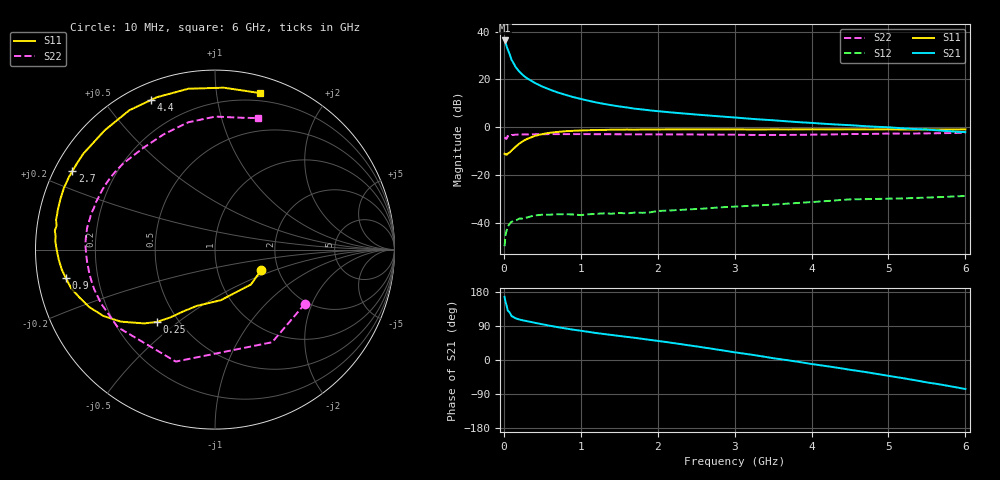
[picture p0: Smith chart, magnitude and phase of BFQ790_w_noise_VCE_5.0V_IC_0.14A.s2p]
! Infineon Technologies  Discrete & RF Semiconductors
! BFQ790
! VCE =  5.0 V,  IC = 0.14 A
! Common Emitter S-Parameters:  May 2015
# GHz  S  MA  R  50
!  f  S11  S21  S12  S22
! GHz  MAG  ANG  MAG  ANG  MAG  ANG  MAG  ANG
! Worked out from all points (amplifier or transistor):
!   77 points, 10 MHz to 6 GHz, reference 50 ohm
!   highest |S21| = 36.3 dB at 10 MHz (marker M1)
!   |S21| within 3 dB of that: start of sweep to 42.22 MHz
!   unconditionally stable (mu >= 1): start of sweep to 19.65 MHz; 210.7 MHz to 429 MHz; 857.3 MHz to end of sweep (the widest 3 of 4)
!   at 130 MHz: K = 0.88, MSG = 32.9 dB, |S12| = -39.2 dB
!   at 2.2 GHz: K = 1.27, MAG = 17.3 dB, |S12| = -34.7 dB
!   at 6 GHz: K = 1.19, MAG = 10.7 dB, |S12| = -28.7 dB
!   lowest NFmin = 2.89 dB at 1.5 GHz
!   S11 on the Smith chart (normalised r, x): 10 MHz: 1.64, -0.40; 250 MHz: 0.38, -0.42; 900 MHz: 0.08, -0.09; 2.7 GHz: 0.05, +0.26; 4.4 GHz: 0.07, +0.66; 6 GHz: 0.13, +1.32
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0.01  0.2819 -23.6  65.2 166.6  0.0033 35.6  0.5851 -31.0
0.02  0.2792 -44.2  60.22 154.3  0.0054 39.5  0.6064 -58.3
0.05  0.2837 -83.4  42.33 130.8  0.0085 29.6  0.6611 -109.3
0.1  0.3284 -107.6  25.76 115.8  0.0107 22.9  0.6933 -141.4
0.15  0.3896 -117.5  18.5 110.2  0.0112 22.0  0.702 -154.6
0.2  0.4554 -123.6  14.65 106.9  0.0124 20.4  0.7086 -161.8
0.25  0.5172 -128.8  12.26 104.6  0.0124 18.0  0.7106 -166.4
0.3  0.5697 -133.8  10.59 102.5  0.0131 14.5  0.7128 -169.8
0.4  0.6607 -142.6  8.496 98.2  0.0145 12.9  0.7161 -174.8
0.5  0.7238 -149.3  7.097 94.2  0.015 9.6  0.7187 -178.4
0.6  0.7707 -155.5  6.117 90.4  0.015 11.2  0.7215 178.7
0.7  0.8019 -160.7  5.345 86.7  0.0153 11.7  0.7226 176.3
0.9  0.8457 -169.1  4.288 80.0  0.0152 7.5  0.7219 172.5
1.1  0.8703 -175.6  3.592 74.2  0.0153 7.6  0.7216 169.1
1.5  0.8912 175.1  2.733 63.5  0.0163 8.4  0.7162 163.5
2.1  0.9042 163.9  2.103 47.7  0.0182 7.4  0.7111 155.0
2.7  0.9071 151.2  1.746 29.9  0.0207 3.1  0.7056 143.6
3.1  0.9045 141.9  1.559 17.5  0.0225 -1.0  0.6974 134.6
4.1  0.9083 119.5  1.206 -13.4  0.0282 -13.6  0.7054 111.2
4.4  0.9067 113.1  1.129 -22.5  0.0305 -18.9  0.7182 104.2
5.1  0.904 96.9  0.976 -45.0  0.0326 -31.4  0.7404 87.8
6  0.9071 74.1  0.796 -76.6  0.0369 -51.1  0.7708 71.9
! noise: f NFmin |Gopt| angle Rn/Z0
0.45  4.62  0.43  137  0.45
0.9  3.28  0.56  166  0.15
1.5  2.89  0.67  -174  0.09
1.8  2.97  0.69  -168  0.09
2.6  3.31  0.73  -152  0.22
3.5  3.87  0.83  -136  0.52
